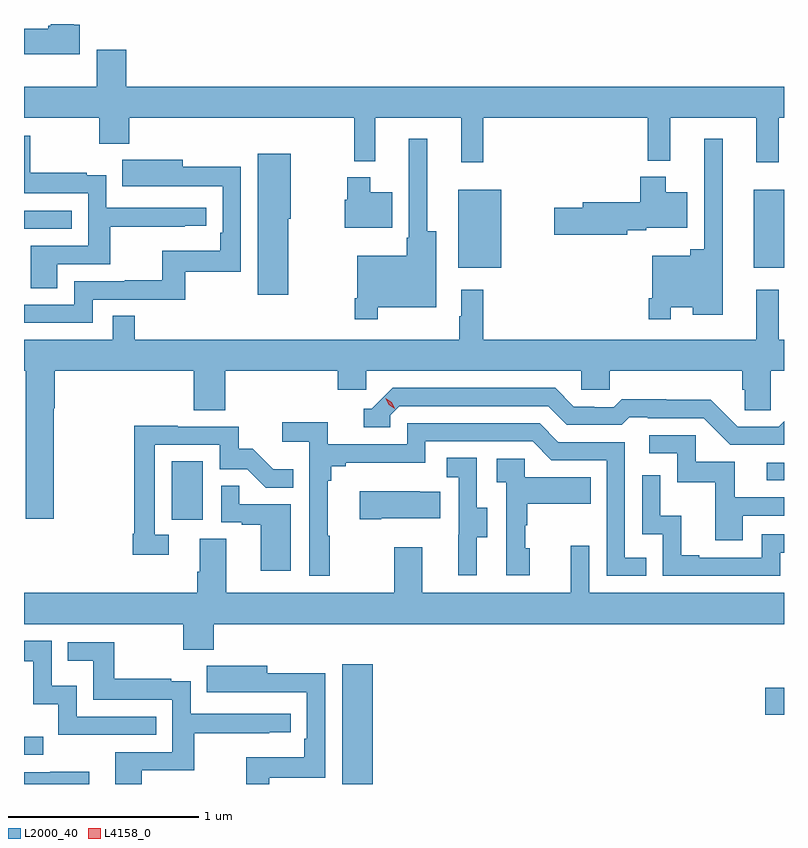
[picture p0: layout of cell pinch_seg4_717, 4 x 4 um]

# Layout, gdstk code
import gdstk
lib = gdstk.Library(unit=1e-6, precision=1e-09)
def R(c, l, rs):  # rectangles x0, y0, x1, y1
    for r in rs: c.add(gdstk.rectangle(r[:2], r[2:], *l))
def P(c, l, *ps):  # polygons
    for p in ps: c.add(gdstk.Polygon(p, *l))
L2000_40 = (2000, 40)
L4158_0 = (4158, 0)

pinch_seg4_717 = lib.new_cell('pinch_seg4_717')
R(pinch_seg4_717, L2000_40, [(851.087,813.294,851.248,813.925), (849.413,813.447,849.514,813.544), (853.314,813.659,853.413,813.801), (850.19,814.686,850.354,814.993), (853.323,814.893,853.413,814.986), (851.699,816.011,851.926,816.421), (853.253,816.011,853.413,816.421), (849.413,816.216,849.665,816.312)])
P(pinch_seg4_717, L2000_40, [(849.706,817.29),(849.676,817.29),(849.676,817.294),(849.554,817.294),(849.554,817.284),(849.541,817.284),(849.541,817.27),(849.413,817.27),(849.413,817.136),(849.706,817.136)],
  [(849.95,817.159),(849.797,817.159),(849.797,816.964),(849.413,816.964),(849.413,816.8),(849.808,816.8),(849.808,816.665),(849.968,816.665),(849.968,816.8),(851.151,816.8),(851.151,816.572),(851.261,816.572),(851.261,816.8),(851.714,816.8),(851.714,816.567),(851.831,816.567),(851.831,816.8),(852.697,816.8),(852.697,816.575),(852.815,816.575),(852.815,816.8),(853.268,816.8),(853.268,816.567),(853.385,816.567),(853.385,816.8),(853.413,816.8),(853.413,816.964),(849.95,816.964)],
  [(849.589,816.03),(849.866,816.03),(849.866,816.226),(850.259,816.226),(850.259,816.231),(850.372,816.231),(850.372,816.327),(849.846,816.327),(849.846,816.499),(849.743,816.499),(849.743,816.511),(849.445,816.511),(849.445,816.705),(849.413,816.705),(849.413,816.402),(849.75,816.402),(849.75,816.126),(849.449,816.126),(849.449,815.902),(849.589,815.902)],
  [(852.816,815.804),(852.932,815.804),(852.932,815.765),(853.09,815.765),(853.09,816.691),(852.993,816.691),(852.993,816.109),(852.92,816.109),(852.92,816.073),(852.72,816.073),(852.72,815.851),(852.7,815.851),(852.7,815.739),(852.816,815.739)],
  [(851.275,815.804),(851.584,815.804),(851.584,816.202),(851.536,816.202),(851.536,816.691),(851.439,816.691),(851.439,816.169),(851.427,816.169),(851.427,816.073),(851.166,816.073),(851.166,815.851),(851.154,815.851),(851.154,815.739),(851.275,815.739)],
  [(850.804,816.27),(850.816,816.27),(850.816,816.61),(850.643,816.61),(850.643,815.868),(850.804,815.868)],
  [(849.774,815.844),(850.261,815.844),(850.261,815.991),(850.554,815.991),(850.554,816.542),(850.249,816.542),(850.249,816.58),(849.931,816.58),(849.931,816.44),(850.145,816.44),(850.145,816.441),(850.458,816.441),(850.458,816.196),(850.445,816.196),(850.445,816.1),(850.14,816.1),(850.14,815.945),(849.943,815.945),(849.943,815.94),(849.678,815.94),(849.678,815.817),(849.413,815.817),(849.413,815.721),(849.774,815.721)],
  [(852.588,816.209),(852.688,816.209),(852.688,816.221),(852.904,816.221),(852.904,816.409),(852.79,816.409),(852.79,816.49),(852.656,816.49),(852.656,816.357),(852.353,816.357),(852.353,816.327),(852.204,816.327),(852.204,816.185),(852.588,816.185)],
  [(851.35,816.409),(851.236,816.409),(851.236,816.487),(851.114,816.487),(851.114,816.369),(851.102,816.369),(851.102,816.221),(851.35,816.221)],
  [(849.57,815.272),(849.575,815.272),(849.575,815.468),(850.307,815.468),(850.307,815.26),(850.472,815.26),(850.472,815.468),(851.063,815.468),(851.063,815.37),(851.214,815.37),(851.214,815.468),(852.345,815.468),(852.345,815.37),(852.495,815.37),(852.495,815.468),(853.193,815.468),(853.193,815.37),(853.207,815.37),(853.207,815.26),(853.344,815.26),(853.344,815.468),(853.413,815.468),(853.413,815.632),(853.385,815.632),(853.385,815.896),(853.268,815.896),(853.268,815.632),(851.831,815.632),(851.831,815.896),(851.714,815.896),(851.714,815.756),(851.703,815.756),(851.703,815.632),(849.995,815.632),(849.995,815.759),(849.879,815.759),(849.879,815.632),(849.413,815.632),(849.413,815.468),(849.422,815.468),(849.422,814.689),(849.57,814.689)],
  [(853.413,815.202),(853.386,815.175),(853.17,815.175),(853.028,815.317),(852.792,815.317),(852.792,815.32),(852.559,815.32),(852.517,815.277),(852.414,815.277),(852.414,815.28),(852.307,815.28),(852.208,815.379),(851.355,815.379),(851.244,815.268),(851.201,815.268),(851.201,815.172),(851.34,815.172),(851.34,815.235),(851.388,815.283),(852.171,815.283),(852.27,815.184),(852.559,815.184),(852.598,815.223),(852.697,815.223),(852.697,815.22),(852.99,815.22),(853.131,815.079),(853.413,815.079)],
  [(851.023,814.601),(851.011,814.601),(851.011,814.889),(851.03,814.889),(851.03,814.966),(851.107,814.966),(851.107,814.985),(851.526,814.985),(851.526,815.097),(852.09,815.097),(852.189,814.998),(852.48,814.998),(852.48,814.389),(852.689,814.389),(852.689,814.485),(852.576,814.485),(852.576,815.094),(852.226,815.094),(852.127,815.193),(851.43,815.193),(851.43,815.082),(851.012,815.082),(851.012,815.198),(850.773,815.198),(850.773,815.096),(850.914,815.096),(850.914,814.389),(851.023,814.389)],
  [(850.174,814.605),(850.101,814.605),(850.101,815.079),(850.443,815.079),(850.443,814.95),(850.587,814.95),(850.685,814.852),(850.829,814.852),(850.829,814.951),(850.725,814.951),(850.618,815.058),(850.542,815.058),(850.542,815.175),(850.223,815.175),(850.223,815.18),(849.993,815.18),(849.993,814.612),(849.985,814.612),(849.985,814.5),(850.174,814.5)],
  [(853.195,814.707),(853.413,814.707),(853.413,814.803),(853.153,814.803),(853.153,814.989),(852.948,814.989),(852.948,815.13),(852.705,815.13),(852.705,815.034),(852.852,815.034),(852.852,814.881),(853.051,814.881),(853.051,814.578),(853.195,814.578)],
  [(851.797,814.594),(851.851,814.594),(851.851,814.749),(851.796,814.749),(851.796,815.012),(851.637,815.012),(851.637,814.909),(851.7,814.909),(851.7,814.605),(851.699,814.605),(851.699,814.392),(851.797,814.392)],
  [(852.076,814.536),(852.051,814.536),(852.051,814.655),(852.061,814.655),(852.061,814.769),(852.395,814.769),(852.395,814.909),(852.048,814.909),(852.048,815.007),(851.901,815.007),(851.901,814.883),(851.952,814.883),(851.952,814.392),(852.076,814.392)],
  [(853.392,814.512),(853.413,814.512),(853.413,814.608),(853.296,814.608),(853.296,814.485),(852.967,814.485),(852.967,814.498),(852.872,814.498),(852.872,814.706),(852.762,814.706),(852.762,814.918),(852.666,814.918),(852.666,814.608),(852.774,814.608),(852.774,814.389),(853.392,814.389)],
  [(850.816,814.767),(850.547,814.767),(850.547,814.865),(850.452,814.865),(850.452,814.671),(850.559,814.671),(850.559,814.659),(850.658,814.659),(850.658,814.416),(850.816,814.416)],
  [(851.293,814.694),(851.603,814.694),(851.603,814.831),(851.495,814.831),(851.495,814.834),(851.181,814.834),(851.181,814.687),(851.293,814.687)],
  [(850.412,814.136),(853.413,814.136),(853.413,814.3),(852.387,814.3),(852.387,814.549),(852.29,814.549),(852.29,814.3),(851.509,814.3),(851.509,814.54),(851.362,814.54),(851.362,814.3),(850.477,814.3),(850.477,814.586),(850.337,814.586),(850.337,814.412),(850.325,814.412),(850.325,814.3),(849.413,814.3),(849.413,814.136),(850.252,814.136),(850.252,814.001),(850.412,814.001)],
  [(850.109,813.648),(849.69,813.648),(849.69,813.811),(849.558,813.811),(849.558,814.047),(849.413,814.047),(849.413,813.939),(849.461,813.939),(849.461,813.713),(849.594,813.713),(849.594,813.552),(850.109,813.552)],
  [(850.033,813.366),(850.31,813.366),(850.31,813.562),(850.703,813.562),(850.703,813.567),(850.816,813.567),(850.816,813.663),(850.29,813.663),(850.29,813.835),(850.187,813.835),(850.187,813.847),(849.889,813.847),(849.889,814.041),(849.643,814.041),(849.643,813.944),(849.778,813.944),(849.778,813.738),(850.194,813.738),(850.194,813.462),(849.893,813.462),(849.893,813.294),(850.033,813.294)],
  [(850.705,813.327),(850.998,813.327),(850.998,813.878),(850.693,813.878),(850.693,813.916),(850.375,813.916),(850.375,813.776),(850.589,813.776),(850.589,813.777),(850.902,813.777),(850.902,813.532),(850.889,813.532),(850.889,813.436),(850.584,813.436),(850.584,813.294),(850.705,813.294)],
  [(849.757,813.359),(849.552,813.359),(849.552,813.357),(849.413,813.357),(849.413,813.294),(849.757,813.294)])
P(pinch_seg4_717, L4158_0, [(851.365,815.269),(851.334,815.289),(851.318,815.322),(851.318,815.323),(851.318,815.323),(851.349,815.302),(851.365,815.27),(851.365,815.269)])

lib.write_gds('pinch_seg4_717.gds')
